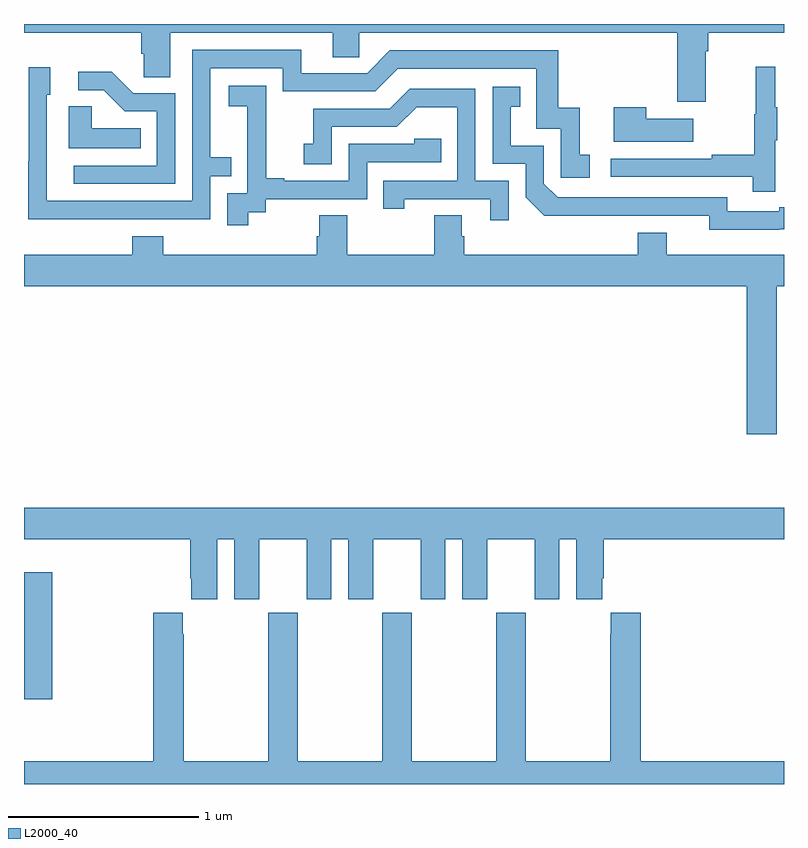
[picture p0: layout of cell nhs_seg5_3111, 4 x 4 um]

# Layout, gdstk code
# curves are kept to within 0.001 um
import gdstk
lib = gdstk.Library(unit=1e-6, precision=1e-09)
def R(c, l, rs):  # rectangles x0, y0, x1, y1
    for r in rs: c.add(gdstk.rectangle(r[:2], r[2:], *l))
def P(c, l, *ps):  # polygons
    for p in ps: c.add(gdstk.Polygon(p, *l))
L2000_40 = (2000, 40)

nhs_seg5_3111 = lib.new_cell('nhs_seg5_3111')
R(nhs_seg5_3111, L2000_40, [(291,861.246,291.149,861.913)])
P(nhs_seg5_3111, L2000_40, [(294.589,864.656),(294.602,864.656),(294.602,864.752),(295,864.752),(295,864.799),(291,864.799),(291,864.752),(291.617,864.752),(291.617,864.643),(291.63,864.643),(291.63,864.52),(291.769,864.52),(291.769,864.752),(292.625,864.752),(292.625,864.625),(292.764,864.625),(292.764,864.752),(294.437,864.752),(294.437,864.39),(294.589,864.39)],
  [(291.485,863.772),(291.981,863.772),(291.981,863.997),(292.091,863.997),(292.091,864.098),(291.981,864.098),(291.981,864.567),(292.362,864.567),(292.362,864.444),(292.848,864.444),(292.968,864.564),(293.697,864.564),(293.697,864.249),(293.826,864.249),(293.826,863.991),(293.977,863.991),(293.977,864.111),(293.924,864.111),(293.924,864.358),(293.813,864.358),(293.813,864.66),(292.926,864.66),(292.806,864.54),(292.459,864.54),(292.459,864.663),(291.885,864.663),(291.885,863.868),(291.12,863.868),(291.12,864.426),(291.139,864.426),(291.139,864.571),(291.024,864.571),(291.024,864.077),(291.022,864.077),(291.022,863.771)],
  [(294.953,864.187),(294.964,864.187),(294.964,864.361),(294.953,864.361),(294.953,864.574),(294.85,864.574),(294.85,864.324),(294.843,864.324),(294.843,864.11),(294.619,864.11),(294.619,864.09),(294.087,864.09),(294.087,863.994),(294.835,863.994),(294.835,863.916),(294.953,863.916)],
  [(291.795,864.435),(291.576,864.435),(291.463,864.548),(291.285,864.548),(291.285,864.45),(291.419,864.45),(291.53,864.339),(291.699,864.339),(291.699,864.054),(291.261,864.054),(291.261,863.958),(291.795,863.958)],
  [(292.18,863.809),(292.272,863.809),(292.272,863.877),(292.806,863.877),(292.806,864.072),(293.195,864.072),(293.195,864.195),(293.055,864.195),(293.055,864.168),(292.71,864.168),(292.71,863.973),(292.369,863.973),(292.369,863.986),(292.274,863.986),(292.274,864.269),(292.275,864.269),(292.275,864.475),(292.077,864.475),(292.077,864.365),(292.175,864.365),(292.175,864.137),(292.176,864.137),(292.176,863.907),(292.071,863.907),(292.071,863.739),(292.18,863.739)],
  [(294.974,863.718),(295,863.718),(295,863.834),(294.974,863.834),(294.974,863.814),(294.702,863.814),(294.702,863.886),(293.808,863.886),(293.736,863.958),(293.736,864.159),(293.563,864.159),(293.563,864.363),(293.612,864.363),(293.612,864.469),(293.466,864.469),(293.466,864.063),(293.64,864.063),(293.64,863.886),(293.738,863.789),(294.606,863.79),(294.606,863.717)],
  [(293.55,863.973),(293.376,863.973),(293.376,864.459),(293.03,864.459),(292.925,864.354),(292.522,864.354),(292.522,864.169),(292.473,864.169),(292.473,864.06),(292.62,864.06),(292.62,864.258),(292.962,864.258),(293.066,864.362),(293.28,864.362),(293.28,863.973),(292.891,863.973),(292.891,863.826),(293.002,863.826),(293.002,863.877),(293.453,863.877),(293.453,863.766),(293.55,863.766)],
  [(291.614,864.25),(291.357,864.25),(291.357,864.365),(291.236,864.365),(291.236,864.146),(291.614,864.146)],
  [(294.523,864.301),(294.275,864.301),(294.275,864.361),(294.104,864.361),(294.104,864.179),(294.523,864.179)],
  [(294.963,863.42),(295,863.42),(295,863.584),(294.382,863.584),(294.382,863.701),(294.23,863.701),(294.23,863.584),(293.318,863.584),(293.318,863.682),(293.305,863.682),(293.305,863.792),(293.158,863.792),(293.158,863.584),(292.701,863.584),(292.701,863.792),(292.553,863.792),(292.553,863.682),(292.541,863.682),(292.541,863.584),(291.734,863.584),(291.734,863.683),(291.569,863.683),(291.569,863.584),(291,863.584),(291,863.42),(294.803,863.42),(294.803,862.641),(294.963,862.641)],
  [(292.018,862.088),(292.106,862.088),(292.106,861.771),(292.237,861.771),(292.237,862.088),(292.487,862.088),(292.487,861.771),(292.618,861.771),(292.618,862.088),(292.706,862.088),(292.706,861.771),(292.837,861.771),(292.837,862.088),(293.087,862.088),(293.087,861.771),(293.218,861.771),(293.218,862.088),(293.306,862.088),(293.306,861.771),(293.437,861.771),(293.437,862.088),(293.687,862.088),(293.687,861.771),(293.818,861.771),(293.818,862.088),(293.906,862.088),(293.906,861.771),(294.043,861.771),(294.043,861.883),(294.05,861.883),(294.05,862.088),(295,862.088),(295,862.252),(291,862.252),(291,862.088),(291.875,862.088),(291.875,861.883),(291.881,861.883),(291.881,861.771),(292.018,861.771)],
  [(295,860.92),(294.245,860.92),(294.245,861.7),(294.089,861.7),(294.089,861.587),(294.085,861.587),(294.085,860.92),(293.64,860.92),(293.64,861.7),(293.485,861.7),(293.485,860.92),(293.04,860.92),(293.04,861.7),(292.885,861.7),(292.885,860.92),(292.44,860.92),(292.44,861.7),(292.285,861.7),(292.285,860.92),(291.84,860.92),(291.84,861.587),(291.835,861.587),(291.835,861.7),(291.68,861.7),(291.68,860.92),(291,860.92),(291,860.799),(295,860.799)])

lib.write_gds('nhs_seg5_3111.gds')
